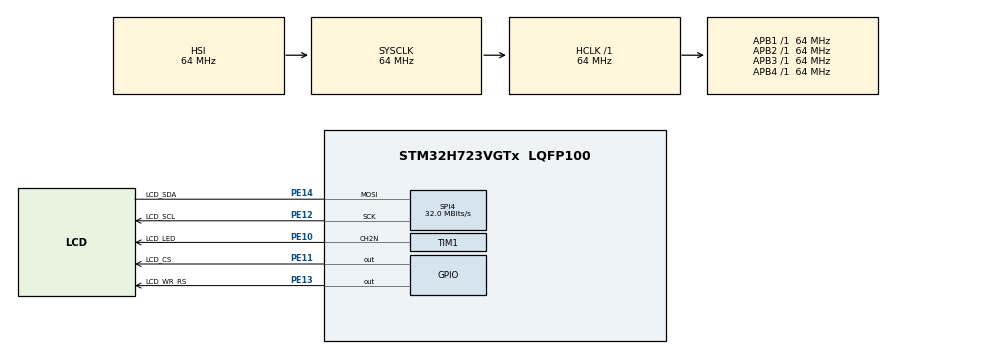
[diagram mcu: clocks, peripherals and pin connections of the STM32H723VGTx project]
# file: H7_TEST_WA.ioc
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CORTEX_M7.default_mode_Activation=1
Mcu.Family=STM32H7
Mcu.Name=STM32H723VGTx
Mcu.Package=LQFP100
NVIC.PriorityGroup=NVIC_PRIORITYGROUP_4
PE10.GPIO_Label=LCD_LED 
PE10.Mode=PWM Generation2 CH2N
PE10.Signal=TIM1_CH2N
PE11.GPIO_Label=LCD_CS
PE11.Signal=GPIO_Output
PE12.GPIO_Label=LCD_SCL
PE12.Mode=Simplex_Bidirectional_Master
PE12.Signal=SPI4_SCK
PE13.GPIO_Label=LCD_WR_RS 
PE13.Signal=GPIO_Output
PE14.GPIO_Label=LCD_SDA
PE14.Mode=Simplex_Bidirectional_Master
PE14.Signal=SPI4_MOSI
ProjectManager.HeapSize=0x200
ProjectManager.StackSize=0x400
ProjectManager.TargetToolchain=STM32CubeIDE
RCC.ADCFreq_Value=129000000
RCC.APB1Freq_Value=64000000
RCC.APB2Freq_Value=64000000
RCC.APB3Freq_Value=64000000
RCC.APB4Freq_Value=64000000
RCC.CortexFreq_Value=64000000
RCC.HCLKFreq_Value=64000000
RCC.SYSCLKFreq_VALUE=64000000
RCC.USBFreq_Value=129000000
SPI4.CalculateBaudRate=32.0 MBits/s
SPI4.Direction=SPI_DIRECTION_1LINE
SPI4.Mode=SPI_MODE_MASTER
SPI4.VirtualType=VM_MASTER
TIM1.Channel-PWM\ Generation2\ CH2N=TIM_CHANNEL_2
TIM1.Period=999
TIM1.Prescaler=63
VP_MEMORYMAP_VS_MEMORYMAP.Mode=CurAppReg
VP_TIM1_VS_ClockSourceINT.Mode=Internal
board=custom

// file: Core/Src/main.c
/* USER CODE BEGIN Header */
/**
  ******************************************************************************
  * @file           : main.c
  * @brief          : Main program body
  ******************************************************************************
  * @attention
  *
  * Copyright (c) 2026 STMicroelectronics.
  * All rights reserved.
  *
  * This software is licensed under terms that can be found in the LICENSE file
  * in the root directory of this software component.
  * If no LICENSE file comes with this software, it is provided AS-IS.
  *
  ******************************************************************************
  */
/* USER CODE END Header */
#include "main.h"
#include "spi.h"
#include "tim.h"
#include "gpio.h"

/* USER CODE BEGIN Includes */
#include "image_data.h"
/* USER CODE END Includes */

void SystemClock_Config(void);
static void MPU_Config(void);
static void CPU_CACHE_Enable(void);

/* USER CODE BEGIN 0 */

/* ---- ST7735 160x80 Landscape Driver ---- */

#define LCD_WIDTH  160
#define LCD_HEIGHT 80

#define ST7735_X_OFFSET 0
#define ST7735_Y_OFFSET 24

/* Control pin macros */
#define LCD_CS_LOW()   HAL_GPIO_WritePin(LCD_CS_GPIO_Port,   LCD_CS_Pin,   GPIO_PIN_RESET)
#define LCD_CS_HIGH()  HAL_GPIO_WritePin(LCD_CS_GPIO_Port,   LCD_CS_Pin,   GPIO_PIN_SET)
#define LCD_RS_LOW()   HAL_GPIO_WritePin(LCD_WR_RS_GPIO_Port, LCD_WR_RS_Pin, GPIO_PIN_RESET)
#define LCD_RS_HIGH()  HAL_GPIO_WritePin(LCD_WR_RS_GPIO_Port, LCD_WR_RS_Pin, GPIO_PIN_SET)

static void LCD_LED_ON(void)
{
  __HAL_TIM_SET_COMPARE(&htim1, TIM_CHANNEL_2, 0);
  HAL_TIMEx_PWMN_Start(&htim1, TIM_CHANNEL_2);
}

/* ST7735 commands */
#define ST7735_SWRESET  0x01
#define ST7735_SLPOUT   0x11
#define ST7735_NORON    0x13
#define ST7735_INVON    0x21
#define ST7735_DISPON   0x29
#define ST7735_CASET    0x2A
#define ST7735_RASET    0x2B
#define ST7735_RAMWR    0x2C
#define ST7735_MADCTL   0x36
#define ST7735_COLMOD   0x3A
#define ST7735_FRMCTR1  0xB1
#define ST7735_INVCTR   0xB4
#define ST7735_PWCTR1   0xC0
#define ST7735_PWCTR2   0xC1
#define ST7735_PWCTR3   0xC2
#define ST7735_VMCTR1   0xC5
#define ST7735_GMCTRP1  0xE0
#define ST7735_GMCTRN1  0xE1

extern SPI_HandleTypeDef hspi4;
extern TIM_HandleTypeDef htim1;

static void ST7735_WriteCmd(uint8_t cmd)
{
  LCD_RS_LOW();
  LCD_CS_LOW();
  HAL_SPI_Transmit(&hspi4, &cmd, 1, HAL_MAX_DELAY);
  LCD_CS_HIGH();
}

static void ST7735_WriteData8(uint8_t data)
{
  LCD_RS_HIGH();
  LCD_CS_LOW();
  HAL_SPI_Transmit(&hspi4, &data, 1, HAL_MAX_DELAY);
  LCD_CS_HIGH();
}

static void ST7735_WriteData16(uint16_t data)
{
  uint8_t buf[2] = { data >> 8, data & 0xFF };
  LCD_RS_HIGH();
  LCD_CS_LOW();
  HAL_SPI_Transmit(&hspi4, buf, 2, HAL_MAX_DELAY);
  LCD_CS_HIGH();
}

static void ST7735_WriteDataBulk(const uint16_t *data, uint32_t len)
{
  /* Convert RGB565 big-endian for ST7735 and send via SPI */
  LCD_RS_HIGH();
  LCD_CS_LOW();
  uint8_t buf[2];
  for (uint32_t i = 0; i < len; i++) {
    buf[0] = data[i] >> 8;
    buf[1] = data[i] & 0xFF;
    HAL_SPI_Transmit(&hspi4, buf, 2, HAL_MAX_DELAY);
  }
  LCD_CS_HIGH();
}

static void ST7735_SetWindow(uint16_t x0, uint16_t y0, uint16_t x1, uint16_t y1)
{
  ST7735_WriteCmd(ST7735_CASET);
  ST7735_WriteData16(x0 + ST7735_X_OFFSET);
  ST7735_WriteData16(x1 + ST7735_X_OFFSET);

  ST7735_WriteCmd(ST7735_RASET);
  ST7735_WriteData16(y0 + ST7735_Y_OFFSET);
  ST7735_WriteData16(y1 + ST7735_Y_OFFSET);

  ST7735_WriteCmd(ST7735_RAMWR);
}

static void ST7735_Init(void)
{
  /* Backlight ON */
  LCD_LED_ON();
  HAL_Delay(50);

  /* Software Reset — send twice per reference driver */
  ST7735_WriteCmd(ST7735_SWRESET);
  HAL_Delay(120);
  ST7735_WriteCmd(ST7735_SWRESET);
  HAL_Delay(120);

  /* Sleep Out */
  ST7735_WriteCmd(ST7735_SLPOUT);
  HAL_Delay(10);

  /* Frame rate control - normal mode: fosc/(1x2+40) * (LINE+2C+2D) */
  ST7735_WriteCmd(ST7735_FRMCTR1);
  ST7735_WriteData8(0x01); ST7735_WriteData8(0x2C); ST7735_WriteData8(0x2D);

  /* Frame rate control - idle mode */
  ST7735_WriteCmd(0xB2); /* FRMCTR2 */
  ST7735_WriteData8(0x01); ST7735_WriteData8(0x2C); ST7735_WriteData8(0x2D);

  /* Frame rate control - partial mode */
  ST7735_WriteCmd(0xB3); /* FRMCTR3 */
  ST7735_WriteData8(0x01); ST7735_WriteData8(0x2C); ST7735_WriteData8(0x2D);
  ST7735_WriteData8(0x01); ST7735_WriteData8(0x2C); ST7735_WriteData8(0x2D);

  /* Display inversion control — no inversion (BOE panel) */
  ST7735_WriteCmd(ST7735_INVCTR);
  ST7735_WriteData8(0x07);

  /* Power control 1: -4.6V, AUTO mode */
  ST7735_WriteCmd(ST7735_PWCTR1);
  ST7735_WriteData8(0xA2); ST7735_WriteData8(0x02); ST7735_WriteData8(0x84);

  /* Power control 2: VGH25=2.4C VGSEL=-10 VGH=3*AVDD */
  ST7735_WriteCmd(ST7735_PWCTR2);
  ST7735_WriteData8(0xC5);

  /* Power control 3: Opamp current small, Boost frequency */
  ST7735_WriteCmd(ST7735_PWCTR3);
  ST7735_WriteData8(0x0A); ST7735_WriteData8(0x00);

  /* Power control 4: BCLK/2, Opamp current small & Medium low */
  ST7735_WriteCmd(0xC3); /* PWCTR4 */
  ST7735_WriteData8(0x8A); ST7735_WriteData8(0x2A);

  /* Power control 5 */
  ST7735_WriteCmd(0xC4); /* PWCTR5 */
  ST7735_WriteData8(0x8A); ST7735_WriteData8(0xEE);

  /* VCOM control 1 */
  ST7735_WriteCmd(ST7735_VMCTR1);
  ST7735_WriteData8(0x0E);

  /* Display inversion OFF (BOE panel — use INVON for HannStar panel) */
  ST7735_WriteCmd(0x21);

  /* Color mode: 16-bit RGB565 */
  ST7735_WriteCmd(ST7735_COLMOD);
  ST7735_WriteData8(0x05);

  /* Positive gamma correction */
  ST7735_WriteCmd(ST7735_GMCTRP1);
  ST7735_WriteData8(0x02); ST7735_WriteData8(0x1C); ST7735_WriteData8(0x07);
  ST7735_WriteData8(0x12); ST7735_WriteData8(0x37); ST7735_WriteData8(0x32);
  ST7735_WriteData8(0x29); ST7735_WriteData8(0x2D); ST7735_WriteData8(0x29);
  ST7735_WriteData8(0x25); ST7735_WriteData8(0x2B); ST7735_WriteData8(0x39);
  ST7735_WriteData8(0x00); ST7735_WriteData8(0x01); ST7735_WriteData8(0x03);
  ST7735_WriteData8(0x10);

  /* Negative gamma correction */
  ST7735_WriteCmd(ST7735_GMCTRN1);
  ST7735_WriteData8(0x03); ST7735_WriteData8(0x1D); ST7735_WriteData8(0x07);
  ST7735_WriteData8(0x06); ST7735_WriteData8(0x2E); ST7735_WriteData8(0x2C);
  ST7735_WriteData8(0x29); ST7735_WriteData8(0x2D); ST7735_WriteData8(0x2E);
  ST7735_WriteData8(0x2E); ST7735_WriteData8(0x37); ST7735_WriteData8(0x3F);
  ST7735_WriteData8(0x00); ST7735_WriteData8(0x00); ST7735_WriteData8(0x02);
  ST7735_WriteData8(0x10);

  /* Normal display mode ON */
  ST7735_WriteCmd(ST7735_NORON);
  HAL_Delay(10);

  ST7735_WriteCmd(ST7735_MADCTL);
  ST7735_WriteData8(0xA8);

  /* Display ON */
  ST7735_WriteCmd(ST7735_DISPON);
  HAL_Delay(100);
}

static void ST7735_FillScreen(uint16_t color)
{
  ST7735_SetWindow(0, 0, LCD_WIDTH - 1, LCD_HEIGHT - 1);
  LCD_RS_HIGH();
  LCD_CS_LOW();
  uint8_t buf[2] = { color >> 8, color & 0xFF };
  for (uint32_t i = 0; i < (uint32_t)LCD_WIDTH * LCD_HEIGHT; i++) {
    HAL_SPI_Transmit(&hspi4, buf, 2, HAL_MAX_DELAY);
  }
  LCD_CS_HIGH();
}

static void ST7735_FillRect(uint16_t x, uint16_t y, uint16_t w, uint16_t h, uint16_t color)
{
  ST7735_SetWindow(x, y, x + w - 1, y + h - 1);
  LCD_RS_HIGH();
  LCD_CS_LOW();
  uint8_t buf[2] = { color >> 8, color & 0xFF };
  for (uint32_t i = 0; i < (uint32_t)w * h; i++) {
    HAL_SPI_Transmit(&hspi4, buf, 2, HAL_MAX_DELAY);
  }
  LCD_CS_HIGH();
}

static void ST7735_DisplayImage(const uint16_t *image, uint16_t w, uint16_t h)
{
  ST7735_SetWindow(0, 0, w - 1, h - 1);
  ST7735_WriteDataBulk(image, (uint32_t)w * h);
}

static void ST7735_ColorTest(void)
{
  ST7735_FillRect(0, 0, LCD_WIDTH/2, LCD_HEIGHT/2, 0xF800);
  ST7735_FillRect(LCD_WIDTH/2, 0, LCD_WIDTH/2, LCD_HEIGHT/2, 0x07E0);
  ST7735_FillRect(0, LCD_HEIGHT/2, LCD_WIDTH/2, LCD_HEIGHT/2, 0x001F);
  ST7735_FillRect(LCD_WIDTH/2, LCD_HEIGHT/2, LCD_WIDTH/2, LCD_HEIGHT/2, 0xFFE0);
}

/* USER CODE END 0 */

int main(void)
{

  /* MPU Configuration--------------------------------------------------------*/
  MPU_Config();
  CPU_CACHE_Enable();

  /* MCU Configuration--------------------------------------------------------*/

  /* Reset of all peripherals, Initializes the Flash interface and the Systick. */
  HAL_Init();

  /* Configure the system clock */
  SystemClock_Config();

  /* Initialize all configured peripherals */
  MX_GPIO_Init();
  MX_SPI4_Init();
  MX_TIM1_Init();
  /* USER CODE BEGIN 2 */
  ST7735_Init();
  ST7735_DisplayImage(logo_sysmic_160x80, LCD_WIDTH, LCD_HEIGHT);
  /* USER CODE END 2 */

  /* Infinite loop */
  while (1)
  {

  }
}

void SystemClock_Config(void)
{
  RCC_OscInitTypeDef RCC_OscInitStruct = {0};
  RCC_ClkInitTypeDef RCC_ClkInitStruct = {0};

  /** Supply configuration update enable
  */
  HAL_PWREx_ConfigSupply(PWR_LDO_SUPPLY);

  /** Configure the main internal regulator output voltage
  */
  __HAL_PWR_VOLTAGESCALING_CONFIG(PWR_REGULATOR_VOLTAGE_SCALE3);

  while(!__HAL_PWR_GET_FLAG(PWR_FLAG_VOSRDY)) {}

  /** Initializes the RCC Oscillators according to the specified parameters
  * in the RCC_OscInitTypeDef structure.
  */
  RCC_OscInitStruct.OscillatorType = RCC_OSCILLATORTYPE_HSI;
  RCC_OscInitStruct.HSIState = RCC_HSI_DIV1;
  RCC_OscInitStruct.HSICalibrationValue = 64;
  RCC_OscInitStruct.PLL.PLLState = RCC_PLL_NONE;
  if (HAL_RCC_OscConfig(&RCC_OscInitStruct) != HAL_OK)
  {
    Error_Handler();
  }

  /** Initializes the CPU, AHB and APB buses clocks
  */
  RCC_ClkInitStruct.ClockType = RCC_CLOCKTYPE_HCLK|RCC_CLOCKTYPE_SYSCLK
                              |RCC_CLOCKTYPE_PCLK1|RCC_CLOCKTYPE_PCLK2
                              |RCC_CLOCKTYPE_D3PCLK1|RCC_CLOCKTYPE_D1PCLK1;
  RCC_ClkInitStruct.SYSCLKSource = RCC_SYSCLKSOURCE_HSI;
  RCC_ClkInitStruct.SYSCLKDivider = RCC_SYSCLK_DIV1;
  RCC_ClkInitStruct.AHBCLKDivider = RCC_HCLK_DIV1;
  RCC_ClkInitStruct.APB3CLKDivider = RCC_APB3_DIV1;
  RCC_ClkInitStruct.APB1CLKDivider = RCC_APB1_DIV1;
  RCC_ClkInitStruct.APB2CLKDivider = RCC_APB2_DIV1;
  RCC_ClkInitStruct.APB4CLKDivider = RCC_APB4_DIV1;

  if (HAL_RCC_ClockConfig(&RCC_ClkInitStruct, FLASH_LATENCY_1) != HAL_OK)
  {
    Error_Handler();
  }
}

/* USER CODE BEGIN 4 */
static void CPU_CACHE_Enable(void)
{
  SCB_EnableICache();
  SCB_EnableDCache();
}
/* USER CODE END 4 */

 /* MPU Configuration */

void MPU_Config(void)
{
  MPU_Region_InitTypeDef MPU_InitStruct = {0};

  /* Disables the MPU */
  HAL_MPU_Disable();

  /** Initializes and configures the Region and the memory to be protected
  */
  MPU_InitStruct.Enable = MPU_REGION_ENABLE;
  MPU_InitStruct.Number = MPU_REGION_NUMBER0;
  MPU_InitStruct.BaseAddress = 0x0;
  MPU_InitStruct.Size = MPU_REGION_SIZE_4GB;
  MPU_InitStruct.SubRegionDisable = 0x87;
  MPU_InitStruct.TypeExtField = MPU_TEX_LEVEL0;
  MPU_InitStruct.AccessPermission = MPU_REGION_NO_ACCESS;
  MPU_InitStruct.DisableExec = MPU_INSTRUCTION_ACCESS_DISABLE;
  MPU_InitStruct.IsShareable = MPU_ACCESS_SHAREABLE;
  MPU_InitStruct.IsCacheable = MPU_ACCESS_NOT_CACHEABLE;
  MPU_InitStruct.IsBufferable = MPU_ACCESS_NOT_BUFFERABLE;

  HAL_MPU_ConfigRegion(&MPU_InitStruct);
  /* Enables the MPU */
  HAL_MPU_Enable(MPU_PRIVILEGED_DEFAULT);

}

void Error_Handler(void)
{
  __disable_irq();
  while (1)
  {
  }
}
